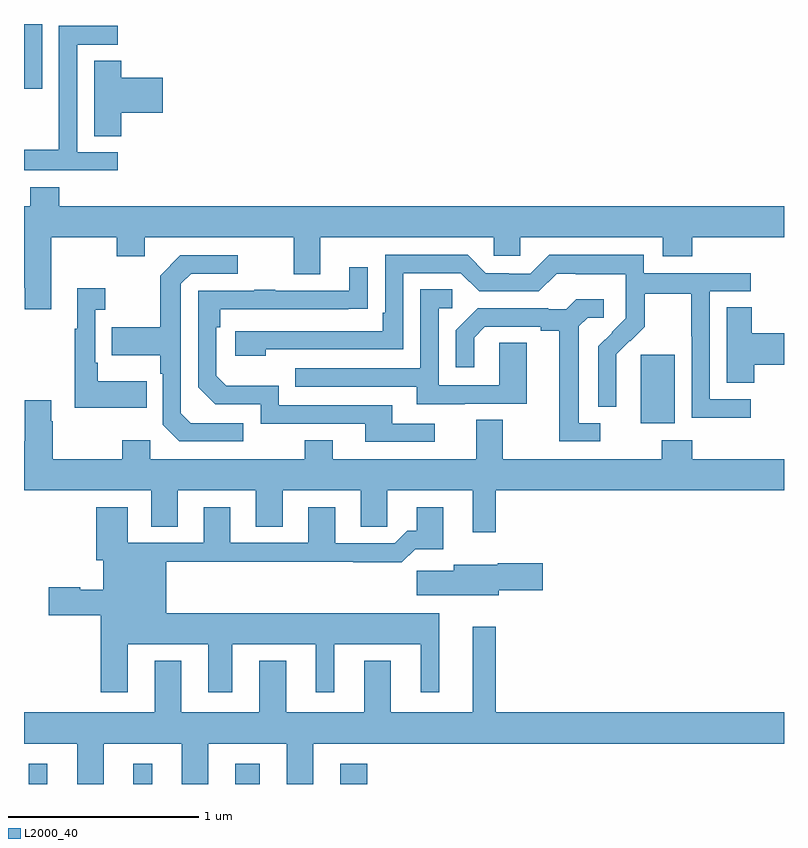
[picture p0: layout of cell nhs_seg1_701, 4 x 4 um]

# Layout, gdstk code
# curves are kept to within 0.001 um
import gdstk
lib = gdstk.Library(unit=1e-6, precision=1e-09)
def R(c, l, rs):  # rectangles x0, y0, x1, y1
    for r in rs: c.add(gdstk.rectangle(r[:2], r[2:], *l))
def P(c, l, *ps):  # polygons
    for p in ps: c.add(gdstk.Polygon(p, *l))
L2000_40 = (2000, 40)

nhs_seg1_701 = lib.new_cell('nhs_seg1_701')
R(nhs_seg1_701, L2000_40, [(149.024,538.199,149.122,538.306), (149.576,538.199,149.674,538.306), (150.113,538.199,150.241,538.306), (150.665,538.199,150.806,538.306), (152.246,540.098,152.425,540.459), (149,541.857,149.095,542.199)])
P(nhs_seg1_701, L2000_40, [(149.494,541.524),(149.28,541.524),(149.28,542.091),(149.494,542.091),(149.494,542.19),(149.184,542.19),(149.184,541.76),(149.182,541.76),(149.182,541.537),(149,541.537),(149,541.428),(149.494,541.428)],
  [(149.513,541.733),(149.731,541.733),(149.731,541.916),(149.513,541.916),(149.513,542.006),(149.369,542.006),(149.369,541.609),(149.513,541.609)],
  [(149.143,541.076),(149.488,541.076),(149.488,540.977),(149.635,540.977),(149.635,541.076),(150.419,541.076),(150.419,540.882),(150.559,540.882),(150.559,541.076),(151.473,541.076),(151.473,540.978),(151.611,540.978),(151.611,541.076),(152.363,541.076),(152.363,540.977),(152.516,540.977),(152.516,541.076),(153,541.076),(153,541.24),(149.186,541.24),(149.186,541.339),(149.033,541.339),(149.033,541.24),(149,541.24),(149,540.811),(149.003,540.811),(149.003,540.699),(149.143,540.699)],
  [(152.824,540.225),(152.61,540.225),(152.61,540.792),(152.824,540.792),(152.824,540.888),(152.262,540.888),(152.262,540.985),(151.765,540.985),(151.665,540.885),(151.55,540.885),(151.55,540.888),(151.431,540.888),(151.335,540.984),(150.9,540.984),(150.9,540.679),(150.887,540.679),(150.887,540.582),(150.111,540.582),(150.111,540.452),(150.272,540.452),(150.272,540.486),(150.996,540.486),(150.996,540.888),(151.299,540.888),(151.395,540.792),(151.71,540.792),(151.803,540.885),(151.903,540.885),(151.903,540.881),(152.166,540.881),(152.166,540.747),(152.168,540.747),(152.168,540.65),(152.022,540.502),(152.022,540.184),(152.118,540.184),(152.117,540.461),(152.187,540.531),(152.19,540.528),(152.267,540.605),(152.267,540.78),(152.512,540.78),(152.512,540.556),(152.514,540.556),(152.514,540.127),(152.824,540.127)],
  [(150.154,540.099),(149.877,540.099),(149.826,540.15),(149.826,540.831),(149.88,540.885),(150.124,540.885),(150.124,540.981),(149.823,540.981),(149.718,540.875),(149.718,540.603),(149.461,540.603),(149.461,540.455),(149.718,540.455),(149.718,540.359),(149.73,540.359),(149.73,540.09),(149.817,540.003),(150.154,540.003)],
  [(151.162,540.096),(150.937,540.096),(150.937,540.192),(150.342,540.192),(150.342,540.295),(150.065,540.295),(150.012,540.348),(150.012,540.602),(150.032,540.602),(150.032,540.699),(150.809,540.7),(150.809,540.919),(150.713,540.919),(150.713,540.795),(150.323,540.795),(150.323,540.8),(150.211,540.8),(150.211,540.795),(149.916,540.795),(149.916,540.288),(150.006,540.198),(150.246,540.198),(150.246,540.096),(150.797,540.096),(150.797,540),(151.162,540)],
  [(149.645,540.319),(149.389,540.319),(149.389,540.415),(149.376,540.415),(149.376,540.695),(149.428,540.695),(149.428,540.808),(149.279,540.808),(149.279,540.595),(149.268,540.595),(149.268,540.179),(149.645,540.179)],
  [(151.321,540.201),(151.645,540.201),(151.645,540.521),(151.5,540.521),(151.5,540.297),(151.182,540.297),(151.182,540.702),(151.255,540.702),(151.255,540.803),(151.086,540.803),(151.086,540.387),(150.427,540.387),(150.427,540.291),(151.067,540.291),(151.067,540.197),(151.321,540.197)],
  [(152.032,540.099),(151.921,540.099),(151.921,540.607),(151.968,540.654),(152.05,540.654),(152.05,540.751),(151.906,540.751),(151.854,540.699),(151.76,540.699),(151.76,540.702),(151.388,540.702),(151.272,540.586),(151.272,540.393),(151.369,540.393),(151.369,540.549),(151.426,540.606),(151.721,540.606),(151.721,540.584),(151.817,540.584),(151.817,540.003),(152.032,540.003)],
  [(152.843,540.406),(153,540.406),(153,540.571),(152.83,540.571),(152.83,540.707),(152.699,540.707),(152.699,540.31),(152.843,540.31)],
  [(150.625,540.007),(150.478,540.007),(150.478,539.908),(149.664,539.908),(149.664,540.007),(149.518,540.007),(149.518,539.908),(149.151,539.908),(149.151,540.107),(149.143,540.107),(149.143,540.22),(149.003,540.22),(149.003,540.004),(149,540.004),(149,539.744),(149.669,539.744),(149.669,539.554),(149.809,539.554),(149.809,539.744),(150.221,539.744),(150.221,539.554),(150.361,539.554),(150.361,539.744),(150.773,539.744),(150.773,539.554),(150.912,539.554),(150.912,539.744),(151.361,539.744),(151.361,539.523),(151.483,539.523),(151.483,539.744),(153,539.744),(153,539.908),(152.516,539.908),(152.516,540.007),(152.356,540.007),(152.356,539.908),(151.519,539.908),(151.519,540.116),(151.379,540.116),(151.379,539.908),(150.625,539.908)],
  [(149.545,538.934),(149.969,538.934),(149.969,538.683),(150.097,538.683),(150.097,538.934),(150.536,538.934),(150.536,538.683),(150.634,538.683),(150.634,538.934),(151.088,538.934),(151.088,538.683),(151.186,538.683),(151.186,539.098),(149.749,539.098),(149.749,539.368),(150.733,539.368),(150.733,539.366),(150.989,539.366),(151.058,539.435),(151.207,539.435),(151.207,539.656),(151.067,539.656),(151.067,539.533),(151.018,539.533),(150.951,539.466),(150.637,539.466),(150.637,539.656),(150.497,539.656),(150.497,539.469),(150.085,539.469),(150.085,539.656),(149.945,539.656),(149.945,539.469),(149.545,539.469),(149.545,539.656),(149.381,539.656),(149.381,539.376),(149.417,539.376),(149.417,539.221),(149.297,539.221),(149.297,539.234),(149.13,539.234),(149.13,539.087),(149.405,539.087),(149.405,538.683),(149.545,538.683)],
  [(151.498,539.219),(151.729,539.219),(151.729,539.361),(151.494,539.361),(151.494,539.353),(151.262,539.353),(151.262,539.321),(151.068,539.321),(151.068,539.192),(151.498,539.192)],
  [(149.419,538.412),(149.831,538.412),(149.831,538.199),(149.971,538.199),(149.971,538.412),(150.383,538.412),(150.383,538.199),(150.523,538.199),(150.523,538.412),(153,538.412),(153,538.576),(151.483,538.576),(151.483,539.026),(151.361,539.026),(151.361,538.576),(150.931,538.576),(150.931,538.849),(150.791,538.849),(150.791,538.576),(150.379,538.576),(150.379,538.849),(150.239,538.849),(150.239,538.576),(149.827,538.576),(149.827,538.849),(149.687,538.849),(149.687,538.576),(149,538.576),(149,538.412),(149.279,538.412),(149.279,538.199),(149.419,538.199)])

lib.write_gds('nhs_seg1_701.gds')
